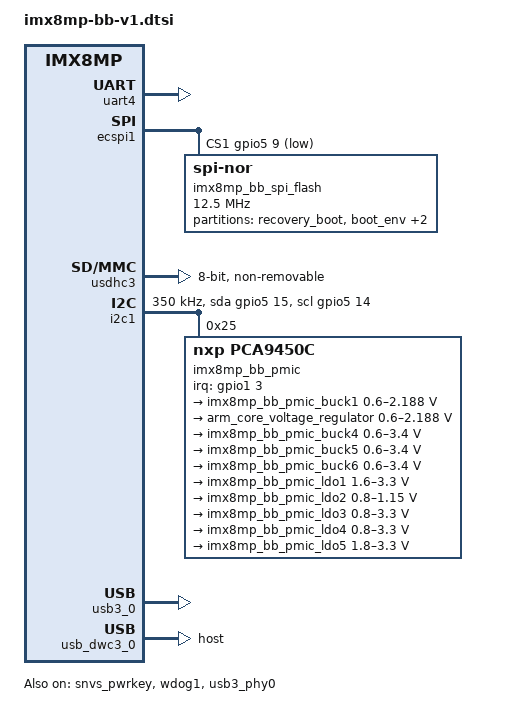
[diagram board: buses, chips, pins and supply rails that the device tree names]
// SPDX-License-Identifier: (GPL-2.0 OR MIT)
//
// Copyright (C) 2022 Prodrive Technologies

/*
 * Building block definitions which are applicable to all variants of the i.MX8MPlus building blocks.
 */

#include <dt-bindings/usb/pd.h>
#include "../../../freescale/imx8mp.dtsi"

/ {
	chosen {
		stdout-path = &uart4;
	};

	aliases {
		rtc1 = &snvs_rtc;
		/*
		 * When U-Boot environment variable 'ethaddr' is set, the MAC address from the i.MX eFuses gets overwritten.
		 * 'ethaddr' is a magic environment variable in U-Boot and related to the ethernet alias described in the device tree.
		 * By deleting the ethernet alias property, the MAC address cannot be spoofed by setting the 'ethaddr' variable.
		 * Allow setting MAC address values by U-Boot by adding the ethernet alias to the product device tree.
		 */
		/delete-property/ ethernet0;
		/delete-property/ ethernet1;
	};
};

&A53_0 {
	cpu-supply = <&arm_core_voltage_regulator>;
};

&snvs_pwrkey {
	status = "okay";
};

/*
	The following definitions list the parts and interfaces which are placed on the building block itself.
	These parts and interfaces are enabled by default, as they are always available and used.
*/
imx8mp_bb_uart_debug: &uart4 { /* Debug UART */
	pinctrl-names = "default";
	pinctrl-0 = <&imx8mp_pinctrl_uart4>;
	status = "okay";
};

imx8mp_bb_watchdog: &wdog1 {
	pinctrl-names = "default";
	status = "okay";
	timeout-sec = <120>;
};

/* boot flash */
imx8mp_bb_ecspi1: &ecspi1 {
	#address-cells = <1>;
	#size-cells = <0>;
	pinctrl-names = "default";
	pinctrl-0 = <&imx8mp_pinctrl_ecspi1>;
	num-cs = <2>;
	cs-gpios =<0
		&gpio5 9 GPIO_ACTIVE_LOW>;
	status = "okay";

	imx8mp_bb_spi_flash: flash@1 {
		reg = <1>;
		compatible = "jedec,spi-nor";
		spi-max-frequency = <12500000>;
		#address-cells = <1>;
		#size-cells = <1>;
		partition@0x00000000 {
			label = "recovery_boot";
			reg = <0x00000000 0x00400000>;
		};
		partition@0x00400000 {
			label = "boot_env";
			reg = <0x00400000 0x00020000>;
		};
		partition@0x00420000 {
			label = "factory_data";
			reg = <0x00420000 0x00020000>;
			read-only;
		};
		partition@0x00440000 {
			label = "customer_data";
			reg = <0x00440000 0x003C0000>;
		};
	};
};

/* eMMC */
imx8mp_bb_emmc: &usdhc3 {
	pinctrl-names = "default";
	assigned-clocks = <&clk IMX8MP_CLK_USDHC3>;
	pinctrl-0 = <&imx8mp_pinctrl_usdhc3>;
	bus-width = <8>;
	non-removable;
	status = "okay";
	mmc-hs200-1_8v;
	mmc-hs400-1_8v;
	max-frequency = <200000000>;
};

imx8mp_bb_i2c1: &i2c1 {
	clock-frequency = <350000>;
	pinctrl-names = "default";
	pinctrl-0 = <&imx8mp_pinctrl_i2c1>;
	pinctrl-1 = <&imx8mp_pinctrl_i2c1_gpio>;
	scl-gpios = <&gpio5 14 GPIO_ACTIVE_HIGH>;
	sda-gpios = <&gpio5 15 GPIO_ACTIVE_HIGH>;
	status = "okay";

	imx8mp_bb_pmic: pca9450@25 {
		reg = <0x25>;
		compatible = "nxp,pca9450c";
		/* PMIC PCA9450 PMIC_nINT GPIO1_IO3 */
		pinctrl-0 = <&imx8mp_pinctrl_pmic>;
		interrupt-parent = <&gpio1>;
		interrupts = <3 IRQ_TYPE_LEVEL_LOW>;

		regulators {
			imx8mp_bb_pmic_buck1: buck1 {
				regulator-name = "buck1";
				regulator-min-microvolt = <600000>;
				regulator-max-microvolt = <2187500>;
				regulator-boot-on;
				regulator-always-on;
				regulator-ramp-delay = <3125>;
				nxp,dvs-run-voltage = <850000>;
				nxp,dvs-standby-voltage = <800000>;
			};

			arm_core_voltage_regulator: buck2 {
				regulator-compatible = "buck2";
				regulator-min-microvolt = <600000>;
				regulator-max-microvolt = <2187500>;
				regulator-boot-on;
				regulator-always-on;
				regulator-ramp-delay = <3125>;
			};

			imx8mp_bb_pmic_buck4: buck4 {
				regulator-compatible = "buck4";
				regulator-min-microvolt = <600000>;
				regulator-max-microvolt = <3400000>;
				regulator-boot-on;
				regulator-always-on;
			};

			imx8mp_bb_pmic_buck5: buck5 {
				regulator-compatible = "buck5";
				regulator-min-microvolt = <600000>;
				regulator-max-microvolt = <3400000>;
				regulator-boot-on;
				regulator-always-on;
			};

			imx8mp_bb_pmic_buck6: buck6 {
				regulator-compatible = "buck6";
				regulator-min-microvolt = <600000>;
				regulator-max-microvolt = <3400000>;
				regulator-boot-on;
				regulator-always-on;
			};

			imx8mp_bb_pmic_ldo1: ldo1 {
				regulator-compatible = "ldo1";
				regulator-min-microvolt = <1600000>;
				regulator-max-microvolt = <3300000>;
				regulator-boot-on;
				regulator-always-on;
			};

			imx8mp_bb_pmic_ldo2: ldo2 {
				regulator-compatible = "ldo2";
				regulator-min-microvolt = <800000>;
				regulator-max-microvolt = <1150000>;
				regulator-boot-on;
				regulator-always-on;
			};

			imx8mp_bb_pmic_ldo3: ldo3 {
				regulator-compatible = "ldo3";
				regulator-min-microvolt = <800000>;
				regulator-max-microvolt = <3300000>;
				regulator-boot-on;
				regulator-always-on;
			};

			imx8mp_bb_pmic_ldo4: ldo4 {
				regulator-compatible = "ldo4";
				regulator-min-microvolt = <800000>;
				regulator-max-microvolt = <3300000>;
				regulator-boot-on;
				regulator-always-on;
			};

			imx8mp_bb_pmic_ldo5: ldo5 {
				regulator-compatible = "ldo5";
				regulator-min-microvolt = <1800000>;
				regulator-max-microvolt = <3300000>;
			};
		};
	};
};

/* USB is enabled by default for production and debugging purposes. */
/* USB is always available on the building block. */
&usb3_0 {
	status = "okay";
};

&usb3_phy0 {
	status = "okay";
};

&usb_dwc3_0 {
	adp-disable;
	dr_mode = "host";
	hnp-disable;
	srp-disable;
	status = "okay";
};

&iomuxc {
	pinctrl-names = "default";

	/*
	 * Building block interfaces
	 */
	imx8mp_pinctrl_ecspi1: ecspi1grp {
		fsl,pins = <
			MX8MP_IOMUXC_ECSPI1_MISO__ECSPI1_MISO	0x00
			MX8MP_IOMUXC_ECSPI1_MOSI__ECSPI1_MOSI	0x00
			MX8MP_IOMUXC_ECSPI1_SCLK__ECSPI1_SCLK	0x00
			MX8MP_IOMUXC_ECSPI1_SS0__GPIO5_IO09		0x00
		>;
	};

	/*
	 * Bit-30 corresponds with the I2C1 SION-bit in the Pad Mux Register (bit-4).
	 * This bit must be set to force the input path of I2C pads.
	 */
	imx8mp_pinctrl_i2c1: i2c1grp {
		fsl,pins = <
			MX8MP_IOMUXC_I2C1_SCL__I2C1_SCL	0x40000000
			MX8MP_IOMUXC_I2C1_SDA__I2C1_SDA	0x40000000
		>;
	};

	/* i.MX I2C peripheral is unable to perform bus recovery. For recovery the driver can switch the I2C pins to GPIO mode
		for bus recovery. These are added as additional IOMUX settings. */
	imx8mp_pinctrl_i2c1_gpio: i2c1gpiogrp {
		fsl,pins = <
			MX8MP_IOMUXC_I2C1_SCL__GPIO5_IO14	0x00
			MX8MP_IOMUXC_I2C1_SDA__GPIO5_IO15	0x00
		>;
	};

	imx8mp_pinctrl_uart4: uart4grp {
		fsl,pins = <
			MX8MP_IOMUXC_UART4_RXD__UART4_DCE_RX		0x00
			MX8MP_IOMUXC_UART4_TXD__UART4_DCE_TX		0x00
		>;
	};

	imx8mp_pinctrl_usdhc3: usdhc3grp {
		fsl,pins = <
			MX8MP_IOMUXC_NAND_WE_B__USDHC3_CLK				0x16
			MX8MP_IOMUXC_NAND_WP_B__USDHC3_CMD				0x10
			MX8MP_IOMUXC_NAND_READY_B__USDHC3_RESET_B	0x10
			MX8MP_IOMUXC_NAND_CE1_B__USDHC3_STROBE		0x10
			MX8MP_IOMUXC_NAND_DATA04__USDHC3_DATA0		0x10
			MX8MP_IOMUXC_NAND_DATA05__USDHC3_DATA1		0x10
			MX8MP_IOMUXC_NAND_DATA06__USDHC3_DATA2		0x10
			MX8MP_IOMUXC_NAND_DATA07__USDHC3_DATA3		0x10
			MX8MP_IOMUXC_NAND_RE_B__USDHC3_DATA4			0x10
			MX8MP_IOMUXC_NAND_CE2_B__USDHC3_DATA5			0x10
			MX8MP_IOMUXC_NAND_CE3_B__USDHC3_DATA6			0x10
			MX8MP_IOMUXC_NAND_CLE__USDHC3_DATA7				0x10
		>;
	};

	imx8mp_pinctrl_pmic: pmicirq {
		fsl,pins = <
			MX8MP_IOMUXC_GPIO1_IO03__GPIO1_IO03		0x00
		>;
	};
};
